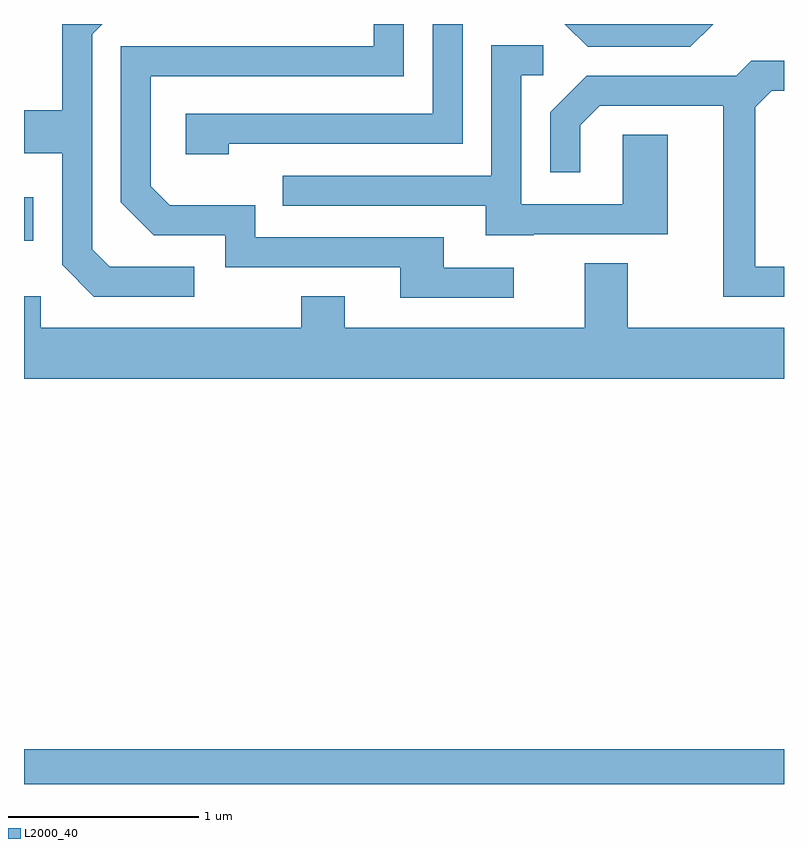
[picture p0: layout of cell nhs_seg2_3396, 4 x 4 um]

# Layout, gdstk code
import gdstk
lib = gdstk.Library(unit=1e-6, precision=1e-09)
def R(c, l, rs):  # rectangles x0, y0, x1, y1
    for r in rs: c.add(gdstk.rectangle(r[:2], r[2:], *l))
def P(c, l, *ps):  # polygons
    for p in ps: c.add(gdstk.Polygon(p, *l))
L2000_40 = (2000, 40)

nhs_seg2_3396 = lib.new_cell('nhs_seg2_3396')
R(nhs_seg2_3396, L2000_40, [(285.611,981.802,289.611,981.984), (285.611,984.661,285.659,984.889)])
P(nhs_seg2_3396, L2000_40, [(286.689,985.171),(287.919,985.171),(287.919,985.802),(287.761,985.802),(287.761,985.329),(286.461,985.329),(286.461,985.116),(286.689,985.116)],
  [(289.238,985.802),(288.458,985.802),(288.579,985.681),(289.117,985.681)],
  [(286.508,984.524),(286.062,984.524),(285.969,984.617),(285.969,985.749),(286.023,985.802),(285.811,985.802),(285.811,985.349),(285.611,985.349),(285.611,985.121),(285.811,985.121),(285.811,984.534),(285.979,984.366),(286.508,984.366)],
  [(288.188,984.519),(287.819,984.519),(287.819,984.679),(286.829,984.679),(286.829,984.849),(286.377,984.849),(286.279,984.947),(286.279,985.526),(287.609,985.526),(287.609,985.802),(287.451,985.802),(287.451,985.684),(286.121,985.684),(286.121,984.864),(286.294,984.691),(286.671,984.691),(286.671,984.521),(287.591,984.521),(287.591,984.361),(288.188,984.361)],
  [(288.295,984.696),(288.999,984.696),(288.999,985.219),(288.761,985.219),(288.761,984.854),(288.229,984.854),(288.229,985.531),(288.343,985.531),(288.343,985.689),(288.071,985.689),(288.071,985.004),(286.973,985.004),(286.973,984.846),(288.041,984.846),(288.041,984.691),(288.295,984.691)],
  [(289.611,984.524),(289.459,984.524),(289.459,985.364),(289.547,985.451),(289.611,985.451),(289.611,985.609),(289.439,985.609),(289.359,985.529),(288.574,985.529),(288.381,985.337),(288.381,985.023),(288.539,985.023),(288.539,985.269),(288.642,985.371),(289.291,985.371),(289.291,984.366),(289.611,984.366)],
  [(289.611,984.204),(288.789,984.204),(288.789,984.544),(288.561,984.544),(288.561,984.204),(287.299,984.204),(287.299,984.369),(287.071,984.369),(287.071,984.204),(285.699,984.204),(285.699,984.369),(285.611,984.369),(285.611,983.936),(289.611,983.936)])

lib.write_gds('nhs_seg2_3396.gds')
